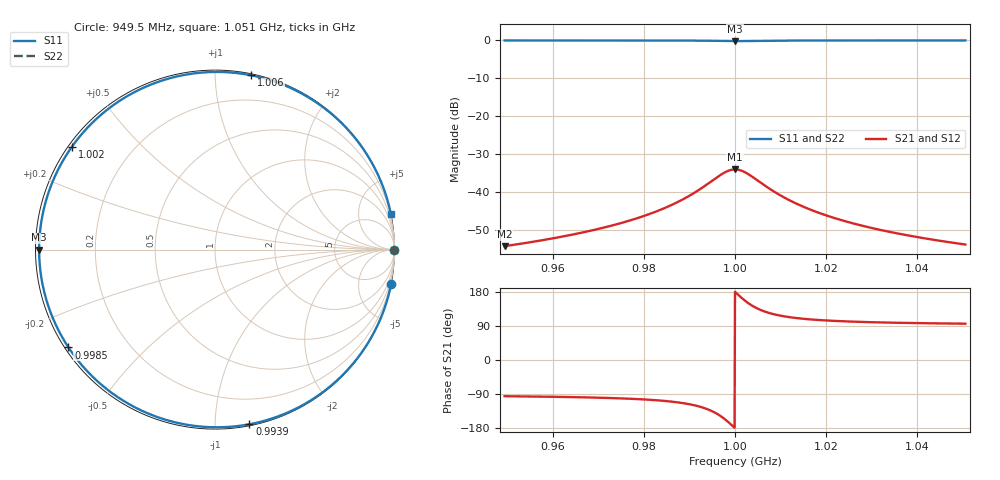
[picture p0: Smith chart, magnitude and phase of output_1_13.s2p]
! File generated for n1 = 1, n2 = 13
! b1 = 100.000000
! b2 = 0.010000
! Q0 = 10000.000000
! f0 = 1000000000.000000
! n = 1001
! rel_span = 10.000000
# Hz S RI R 50
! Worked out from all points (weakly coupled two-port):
!   1001 points, 949.5 MHz to 1.051 GHz, reference 50 ohm
!   highest |S21| = -34.07 dB at 1 GHz (marker M1); lowest = -54.3 dB at 949.5 MHz (marker M2)
!   lowest |S11| = -0.2 dB at 1 GHz (marker M3), VSWR 99.01, Z = 0.505 + j0 ohm
!   |S11| at or under -10 dB: nowhere
!   |S22| runs from 0.0 to 0.0 dB; largest |S21 - S12| = 0
!   S11 on the Smith chart (normalised r, x): 949.5 MHz: 0, -10; 993.9 MHz: 0.01, -1.22; 998.5 MHz: 0.01, -0.30; 1.002 GHz: 0.01, +0.32; 1.006 GHz: 0.01, +1.23; 1.051 GHz: 0.01, +9.86
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9.49495e8  0.9814 -0.1911  -0.000186 -0.00191  -0.000186 -0.00191  1 -1.91e-05
9.663637e8  0.9578 -0.286  -0.000422 -0.00286  -0.000422 -0.00286  1 -2.86e-05
9.759596e8  0.9182 -0.3939  -0.000818 -0.00394  -0.000818 -0.00394  1 -3.94e-05
9.832323e8  0.8379 -0.5429  -0.00162 -0.00543  -0.00162 -0.00543  1 -5.43e-05
9.89697e8  0.6196 -0.7801  -0.0038 -0.0078  -0.0038 -0.0078  1 -7.8e-05
9.920202e8  0.4369 -0.8932  -0.00563 -0.00893  -0.00563 -0.00893  0.9999 -8.93e-05
9.939394e8  0.1914 -0.9732  -0.00809 -0.00973  -0.00809 -0.00973  0.9999 -9.73e-05
9.964646e8  -0.3273 -0.9308  -0.0133 -0.00931  -0.0133 -0.00931  0.9999 -9.31e-05
9.974748e8  -0.5832 -0.7926  -0.0158 -0.00793  -0.0158 -0.00793  0.9998 -7.93e-05
9.984848e8  -0.8163 -0.5453  -0.0182 -0.00545  -0.0182 -0.00545  0.9998 -5.45e-05
1e9  -0.98 0  -0.0198 0  -0.0198 0  0.9998 0
1.000808e9  -0.9306 0.3088  -0.0193 0.00309  -0.0193 0.00309  0.9998 3.09e-05
1.001616e9  -0.7964 0.5744  -0.018 0.00574  -0.018 0.00574  0.9998 5.74e-05
1.002525e9  -0.5848 0.7914  -0.0158 0.00791  -0.0158 0.00791  0.9998 7.91e-05
1.003535e9  -0.3304 0.9296  -0.0133 0.0093  -0.0133 0.0093  0.9999 9.3e-05
1.004646e9  -0.0746 0.9864  -0.0107 0.00986  -0.0107 0.00986  0.9999 9.86e-05
1.006162e9  0.2014 0.9713  -0.00799 0.00971  -0.00799 0.00971  0.9999 9.71e-05
1.008081e9  0.4406 0.8915  -0.00559 0.00891  -0.00559 0.00891  0.9999 8.91e-05
1.010404e9  0.6192 0.7803  -0.00381 0.0078  -0.00381 0.0078  1 7.8e-05
1.016869e9  0.8346 0.5478  -0.00165 0.00548  -0.00165 0.00548  1 5.48e-05
1.033737e9  0.9552 0.2945  -0.000448 0.00295  -0.000448 0.00295  1 2.95e-05
1.050505e9  0.9794 0.2008  -0.000206 0.00201  -0.000206 0.00201  1 2.01e-05
